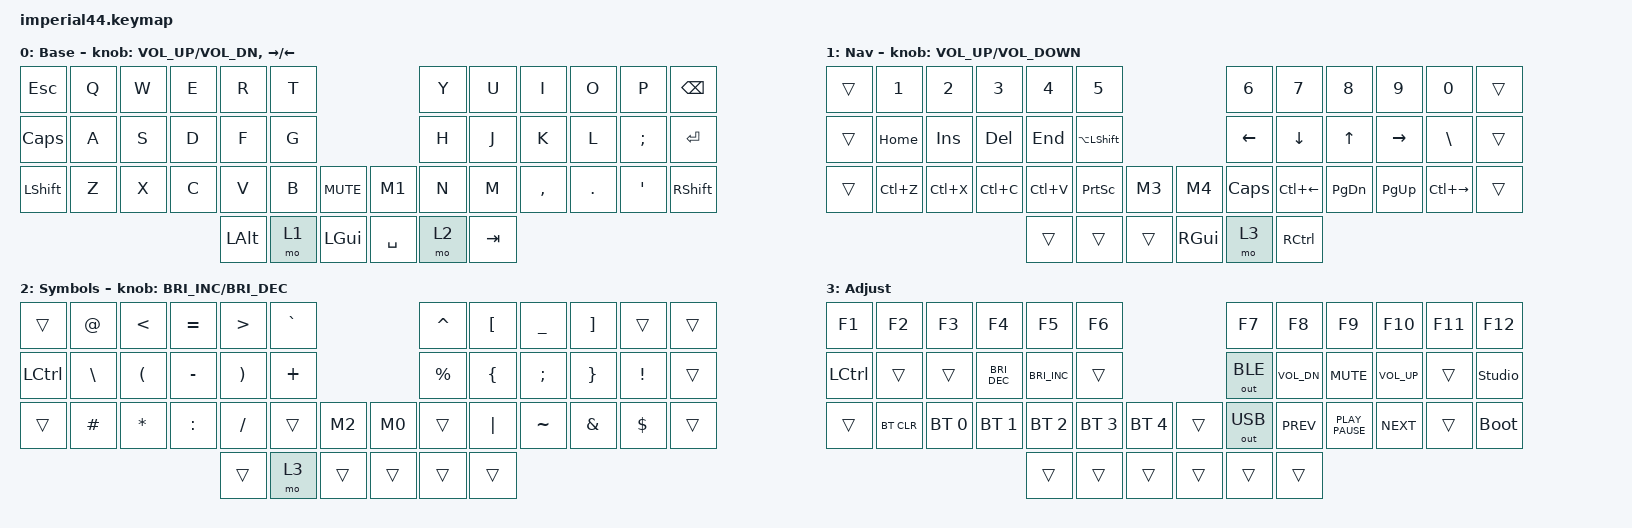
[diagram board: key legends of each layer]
#include "keys_ru.h"
#include <behaviors.dtsi>
#include <dt-bindings/zmk/bt.h>
#include <dt-bindings/zmk/keys.h>
#include <dt-bindings/zmk/outputs.h>

/ {
    macros {
        M0: M0 {
            compatible = "zmk,behavior-macro";
            #binding-cells = <0>;
            bindings = <&kt LGUI &kt LSHFT &kp NUMBER_3 &kt LGUI &kt LSHFT>;
            label = "M0";
        };

        M1: M1 {
            compatible = "zmk,behavior-macro";
            #binding-cells = <0>;
            bindings = <&kt LGUI &kt LSHFT &kp NUMBER_4 &kt LGUI &kt LSHFT>;
            label = "M1";
        };

        M2: M2 {
            compatible = "zmk,behavior-macro";
            #binding-cells = <0>;
            bindings = <&kt LGUI &kt LSHFT &kp NUMBER_5 &kt LGUI &kt LSHFT>;
            label = "M2";
        };

        M3: M3 {
            compatible = "zmk,behavior-macro";
            #binding-cells = <0>;
            bindings = <&kt LGUI &kt LSHFT &kt LCTRL &kp N3 &kt LGUI &kt LSHFT &kt LCTRL>;
            label = "M3";
        };

        M4: M4 {
            compatible = "zmk,behavior-macro";
            #binding-cells = <0>;
            bindings = <&kt LGUI &kt LSHFT &kt LCTRL &kp NUMBER_4 &kt LGUI &kt LSHFT &kt LCTRL>;
            label = "M4";
        };
    };

    behaviors {
        caps_word_custom: caps_word_custom {
            compatible = "zmk,behavior-caps-word";
            label = "CAPS_WORD_CUSTOM";
            #binding-cells = <0>;
            continue-list = <UNDERSCORE MINUS DELETE N0 N1 N2 N3 N4 N5 N6 N7 N8 N9>;
        };
    };

    combos {
        compatible = "zmk,combos";

        combo_caps_word {
            bindings = <&caps_word>;
            key-positions = <24 37>;
        };
    };

    keymap {
        compatible = "zmk,keymap";

        base {
            bindings = <
&kp ESC       &kp Q  &kp W  &kp E  &kp R         &kp T                           &kp Y  &kp U    &kp I      &kp O    &kp P     &kp BACKSPACE
&kp CAPSLOCK  &kp A  &kp S  &kp D  &kp F         &kp G                           &kp H  &kp J    &kp K      &kp L    &kp SEMI  &kp ENTER
&kp LSHFT     &kp Z  &kp X  &kp C  &kp V         &kp B  &kp C_MUTE    &M1        &kp N  &kp M    &kp COMMA  &kp DOT  &kp SQT   &kp RSHFT
                                   &kp LEFT_ALT  &mo 1  &kp LGUI      &kp SPACE  &mo 2  &kp TAB
            >;

            display-name = "Base";
            sensor-bindings =
                <&inc_dec_kp C_VOL_UP C_VOL_DN>,
                <&inc_dec_kp RIGHT LEFT>;
        };

        nav {
            bindings = <
&trans  &kp N1     &kp N2     &kp N3      &kp N4     &kp N5                               &kp N6        &kp N7        &kp N8     &kp N9     &kp N0         &trans
&trans  &kp HOME   &kp INS    &kp DELETE  &kp END    &kp LA(LSHFT)                        &kp LEFT      &kp DOWN      &kp UP     &kp RIGHT  &kp BACKSLASH  &trans
&trans  &kp LC(Z)  &kp LC(X)  &kp LC(C)   &kp LC(V)  &kp PRINTSCREEN  &M3       &M4       &kp CAPSLOCK  &kp LC(LEFT)  &kp PG_DN  &kp PG_UP  &kp LC(RIGHT)  &trans
                                          &trans     &trans           &trans    &kp RGUI  &mo 3         &kp RCTRL
            >;

            display-name = "Nav";
            sensor-bindings = <&inc_dec_kp C_VOLUME_UP C_VOLUME_DOWN>;
        };

        sym {
            bindings = <
&trans     &kp AT    &kp LT    &kp EQUAL  &kp GT    &kp GRAVE                    &kp CARET  &kp LBKT  &kp UNDER  &kp RBKT  &trans    &trans
&kp LCTRL  &kp BSLH  &kp LPAR  &kp MINUS  &kp RPAR  &kp PLUS                     &kp PRCNT  &kp LBRC  &kp SEMI   &kp RBRC  &kp EXCL  &trans
&trans     &kp HASH  &kp STAR  &kp COLON  &kp FSLH  &trans     &M2       &M0     &trans     &kp PIPE  &kp TILDE  &kp AMPS  &kp DLLR  &trans
                                          &trans    &mo 3      &trans    &trans  &trans     &trans
            >;

            display-name = "Symbols";
            sensor-bindings = <&inc_dec_kp C_BRIGHTNESS_INC C_BRIGHTNESS_DEC>;
        };

        adj {
            bindings = <
&kp F1     &kp F2      &kp F3        &kp F4                &kp F5                &kp F6                                &kp F7        &kp F8        &kp F9            &kp F10       &kp F11  &kp F12
&kp LCTRL  &trans      &trans        &kp C_BRIGHTNESS_DEC  &kp C_BRIGHTNESS_INC  &trans                                &out OUT_BLE  &kp C_VOL_DN  &kp K_MUTE        &kp C_VOL_UP  &trans   &studio_unlock
&trans     &bt BT_CLR  &bt BT_SEL 0  &bt BT_SEL 1          &bt BT_SEL 2          &bt BT_SEL 3  &bt BT_SEL 4    &trans  &out OUT_USB  &kp K_PREV    &kp K_PLAY_PAUSE  &kp K_NEXT    &trans   &bootloader
                                                           &trans                &trans        &trans          &trans  &trans        &trans
            >;

            display-name = "Adjust";
        };
    };
};
